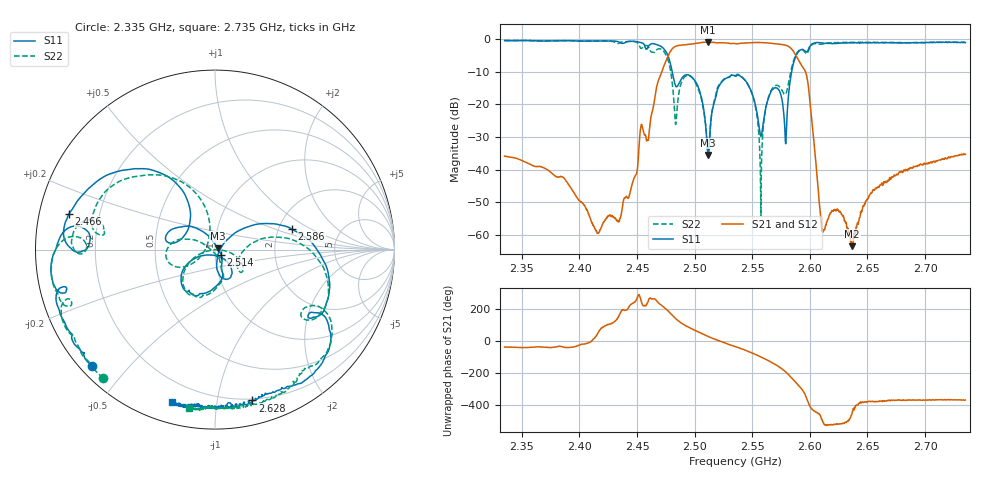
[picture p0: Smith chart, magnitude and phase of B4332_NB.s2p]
! Matrix data file written by TouchstoneData, EPCOS AG
! FILENAME: "B4332_NB.s2p"
! COMMENT: "(B4332_X42Y43_NB.s2p) Epcos AG 11/21/2013 3:"
! INFO: nport=2, nfreq=1601
! DATE: "Tue Dec  3 14:35:08 2013"
! USER: "Rosemary Xue"
! port | pin | signal
!  1  |  1  |  IN
!  2  |  4  |  OUT
# MHZ S RI R 50
! freq  reS11 imS11  reS21 imS21  reS12 imS12  reS22 imS22
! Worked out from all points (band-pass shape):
!   1601 points, 2.335 GHz to 2.735 GHz, reference 50 ohm
!   highest |S21| = -0.97 dB at 2.511 GHz (marker M1); lowest = -63.4 dB at 2.637 GHz (marker M2)
!   |S21| within 3 dB of the highest: 2.479 GHz to 2.586 GHz (107.4 MHz wide, 4.24 % of centre)
!   lowest |S11| = -35.5 dB at 2.512 GHz (marker M3), VSWR 1.03, Z = 51.6 + j0.683 ohm
!   |S11| at or under -10 dB: 2.48 GHz to 2.584 GHz (103.7 MHz wide, 4.09 % of centre)
!   |S22| runs from -54.0 to -0.4 dB; largest |S21 - S12| = 0.0054
!   S11 on the Smith chart (normalised r, x): 2.335 GHz: 0.03, -0.40; 2.466 GHz: 0.09, +0.12; 2.514 GHz: 1.07, -0.06; 2.586 GHz: 2.36, +0.67; 2.628 GHz: 0.19, -1.26; 2.735 GHz: 0.10, -0.75
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2335  -0.6831 -0.6507  0.0131 -0.0094  0.0131 -0.00959  -0.6219 -0.7137
2401.75  -0.7961 -0.4713  0.00305 -0.00104  0.00302 -0.00106  -0.7655 -0.5304
2434.25  -0.8728 -0.225  -0.0016 0.000552  -0.00161 0.000553  -0.8007 -0.3094
2465.5  -0.8139 0.1988  -0.0108 -0.13  -0.0113 -0.1302  -0.6243 0.0805
2468.5  -0.748 0.2937  -0.1097 -0.2042  -0.1106 -0.2044  -0.6852 0.1765
2482  -0.1361 0.1912  -0.6652 0.3425  -0.6661 0.3457  -0.0282 0.1061
2498.25  -0.2233 0.1191  0.2108 0.8148  0.2128 0.8164  -0.2496 0.0278
2511.25  0.00983 0.0161  0.7595 0.4731  0.7632 0.4718  -0.0178 -0.00376
2511.75  0.0155 0.00662  0.7721 0.4505  0.7758 0.4492  -0.0109 -0.0113
2513.5  0.0343 -0.0278  0.8064 0.3727  0.8095 0.3716  0.0147 -0.037
2535  -0.1447 -0.2308  0.7145 -0.4674  0.7154 -0.4708  -0.1227 -0.2482
2550  -0.1308 -0.06  0.2481 -0.8458  0.2468 -0.8487  -0.1299 -0.0573
2557.5  -0.00577 -0.0319  -0.1198 -0.8743  -0.1225 -0.8764  0.00181 -0.000848
2565.25  0.0919 -0.1098  -0.5089 -0.6988  -0.5131 -0.6992  0.1363 -0.0573
2579  0.0232 -0.00933  -0.7872 0.1631  -0.7889 0.1654  0.1396 -0.0335
2586  0.4281 0.1147  -0.2794 0.5698  -0.2783 0.5727  0.4744 0.0346
2601.75  0.639 -0.5392  0.0245 -0.0511  0.0243 -0.0513  0.6492 -0.4884
2611  0.4011 -0.7637  -0.000891 -0.000771  -0.000881 -0.000774  0.4802 -0.6906
2628  0.2078 -0.8407  -0.00183 -0.000876  -0.00181 -0.000874  0.2912 -0.8321
2636.75  0.13 -0.8735  5.46e-05 -0.000675  6.03e-05 -0.000683  0.2123 -0.8612
2668.5  -0.0564 -0.8759  0.00664 -0.00118  0.00667 -0.00121  0.0323 -0.8827
2735  -0.2373 -0.8477  0.0169 -0.00238  0.017 -0.00244  -0.1435 -0.8846
